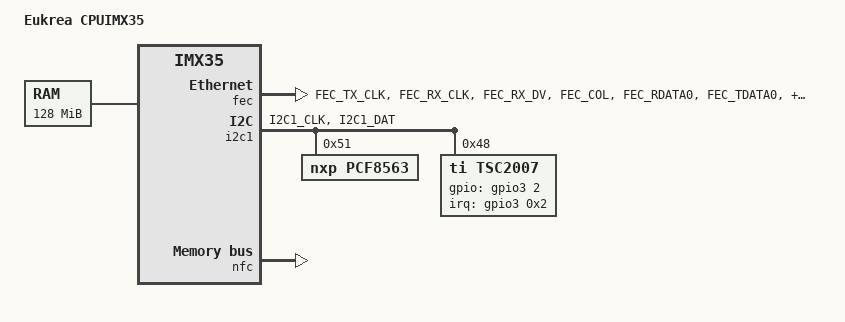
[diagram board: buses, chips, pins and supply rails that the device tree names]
/*
 * Copyright 2013 Eukréa Electromatique <denis@eukrea.com>
 *
 * This program is free software; you can redistribute it and/or
 * modify it under the terms of the GNU General Public License
 * as published by the Free Software Foundation; either version 2
 * of the License, or (at your option) any later version.
 * This program is distributed in the hope that it will be useful,
 * but WITHOUT ANY WARRANTY; without even the implied warranty of
 * MERCHANTABILITY or FITNESS FOR A PARTICULAR PURPOSE.  See the
 * GNU General Public License for more details.
 */

#include "imx35.dtsi"

/ {
	model = "Eukrea CPUIMX35";
	compatible = "eukrea,cpuimx35", "fsl,imx35";

	memory@80000000 {
		device_type = "memory";
		reg = <0x80000000 0x8000000>; /* 128M */
	};
};

&fec {
	pinctrl-names = "default";
	pinctrl-0 = <&pinctrl_fec>;
	status = "okay";
};

&i2c1 {
	pinctrl-names = "default";
	pinctrl-0 = <&pinctrl_i2c1>;
	status = "okay";

	pcf8563@51 {
		compatible = "nxp,pcf8563";
		reg = <0x51>;
	};

	tsc2007: tsc2007@48 {
		compatible = "ti,tsc2007";
		gpios = <&gpio3 2 0>;
		interrupt-parent = <&gpio3>;
		interrupts = <0x2 0x8>;
		pinctrl-names = "default";
		pinctrl-0 = <&pinctrl_tsc2007_1>;
		reg = <0x48>;
		ti,x-plate-ohms = <180>;
	};
};

&iomuxc {
	imx35-eukrea {
		pinctrl_fec: fecgrp {
			fsl,pins = <
				MX35_PAD_FEC_TX_CLK__FEC_TX_CLK		0x80000000
				MX35_PAD_FEC_RX_CLK__FEC_RX_CLK		0x80000000
				MX35_PAD_FEC_RX_DV__FEC_RX_DV		0x80000000
				MX35_PAD_FEC_COL__FEC_COL		0x80000000
				MX35_PAD_FEC_RDATA0__FEC_RDATA_0	0x80000000
				MX35_PAD_FEC_TDATA0__FEC_TDATA_0	0x80000000
				MX35_PAD_FEC_TX_EN__FEC_TX_EN		0x80000000
				MX35_PAD_FEC_MDC__FEC_MDC		0x80000000
				MX35_PAD_FEC_MDIO__FEC_MDIO		0x80000000
				MX35_PAD_FEC_TX_ERR__FEC_TX_ERR		0x80000000
				MX35_PAD_FEC_RX_ERR__FEC_RX_ERR		0x80000000
				MX35_PAD_FEC_CRS__FEC_CRS		0x80000000
				MX35_PAD_FEC_RDATA1__FEC_RDATA_1	0x80000000
				MX35_PAD_FEC_TDATA1__FEC_TDATA_1	0x80000000
				MX35_PAD_FEC_RDATA2__FEC_RDATA_2	0x80000000
				MX35_PAD_FEC_TDATA2__FEC_TDATA_2	0x80000000
				MX35_PAD_FEC_RDATA3__FEC_RDATA_3	0x80000000
				MX35_PAD_FEC_TDATA3__FEC_TDATA_3	0x80000000
			>;
		};

		pinctrl_i2c1: i2c1grp {
			fsl,pins = <
				MX35_PAD_I2C1_CLK__I2C1_SCL		0x80000000
				MX35_PAD_I2C1_DAT__I2C1_SDA		0x80000000
			>;
		};

		pinctrl_tsc2007_1: tsc2007grp-1 {
			fsl,pins = <MX35_PAD_ATA_DA2__GPIO3_2 0x80000000>;
		};
	};
};

&nfc {
	nand-bus-width = <8>;
	nand-ecc-mode = "hw";
	nand-on-flash-bbt;
	status = "okay";
};
